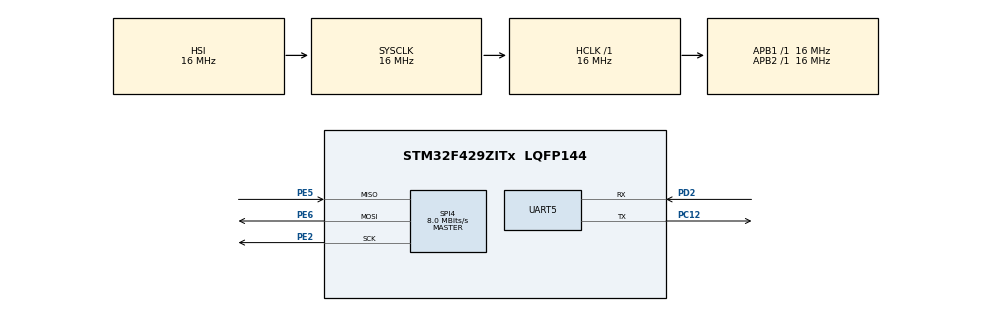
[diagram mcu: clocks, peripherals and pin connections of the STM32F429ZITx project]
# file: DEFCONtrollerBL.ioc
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FREERTOS.Tasks01=defaultTask,24,128,StartDefaultTask,Default,NULL,Dynamic,NULL,NULL
FREERTOS.configUSE_NEWLIB_REENTRANT=1
Mcu.Family=STM32F4
Mcu.Name=STM32F429ZITx
Mcu.Package=LQFP144
NVIC.PriorityGroup=NVIC_PRIORITYGROUP_4
NVIC.TIM6_DAC_IRQn=true\:15\:0\:false\:false\:true\:false\:false\:true\:true
NVIC.TimeBase=TIM6_DAC_IRQn
NVIC.TimeBaseIP=TIM6
PC12.Mode=Asynchronous
PC12.Signal=UART5_TX
PD2.Mode=Asynchronous
PD2.Signal=UART5_RX
PE2.Mode=Full_Duplex_Master
PE2.Signal=SPI4_SCK
PE5.Mode=Full_Duplex_Master
PE5.Signal=SPI4_MISO
PE6.Mode=Full_Duplex_Master
PE6.Signal=SPI4_MOSI
ProjectManager.HeapSize=0x200
ProjectManager.StackSize=0x400
ProjectManager.TargetToolchain=STM32CubeIDE
RCC.AHBFreq_Value=16000000
RCC.APB1Freq_Value=16000000
RCC.APB2Freq_Value=16000000
RCC.CortexFreq_Value=16000000
RCC.HSE_VALUE=25000000
RCC.HSI_VALUE=16000000
RCC.LSE_VALUE=32768
RCC.SYSCLKFreq_VALUE=16000000
RCC.VCOOutputFreq_Value=192000000
SPI4.CalculateBaudRate=8.0 MBits/s
SPI4.Direction=SPI_DIRECTION_2LINES
SPI4.Mode=SPI_MODE_MASTER
SPI4.VirtualType=VM_MASTER
UART5.VirtualMode=Asynchronous
VP_FREERTOS_VS_CMSIS_V2.Mode=CMSIS_V2
VP_SYS_VS_tim6.Mode=TIM6
board=custom

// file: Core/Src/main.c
/* USER CODE BEGIN Header */
/**
  ******************************************************************************
  * @file           : main.c
  * @brief          : Main program body
  ******************************************************************************
  * @attention
  *
  * Copyright (c) 2023 STMicroelectronics.
  * All rights reserved.
  *
  * This software is licensed under terms that can be found in the LICENSE file
  * in the root directory of this software component.
  * If no LICENSE file comes with this software, it is provided AS-IS.
  *
  ******************************************************************************
  */
/* USER CODE END Header */
#include "main.h"
#include "cmsis_os.h"
#include "string.h"

/* USER CODE BEGIN Includes */
#include "stm32f4xx.h" // Replace with your STM32 header file

#include "bsp.h"
#include "xmodem.h"
#include "xmodem_global_handle.h"
//#include "flash.h"
#include "FreeRTOS.h"
#include "task.h"
/* USER CODE END Includes */

/* USER CODE BEGIN PD */
#define BOOTLOADER_START_ADDRESS    0x08000000 // Bootloader start address in flash
#define APPLICATION_START_ADDRESS   0x08008000 // Application start address in flash
#define FLASH_SECTOR_SIZE           0x10000    // Flash sector size (64 KB)
#define APPLICATION_RESET_VECTOR    0x00000004 // Reset vector address in application
#define STARTUP_STRING              "START"    // Startup string to trigger bootloader
/* USER CODE END PD */

SPI_HandleTypeDef hspi4;

UART_HandleTypeDef huart5;
static uint8_t __PageWritePosition = 0;
static uint32_t __ComTimeoutStartTime, __ComTimeoutLength;
static uint8_t __bootloaderPrompt[] = "\r\nBootloader v1.0\r\n";
static uint8_t __response[] = "*";
static uint8_t __rxBuffer[32];
static uint8_t __rxBufferPosition = 0;
static uint8_t __password[8] = "password";

/* Definitions for defaultTask */
osThreadId_t defaultTaskHandle;
const osThreadAttr_t defaultTask_attributes = {
  .name = "defaultTask",
  .stack_size = 128 * 4,
  .priority = (osPriority_t) osPriorityNormal,
};

void SystemClock_Config(void);
static void MX_GPIO_Init(void);
static void MX_UART5_Init(void);
static void MX_SPI4_Init(void);
void StartDefaultTask(void *argument);

/* USER CODE BEGIN 0 */
typedef void (*AppEntryFunc)(void);
typedef void (application_t)(void);
typedef struct
{
    uint32_t		stack_addr;     // Stack Pointer
    application_t*	func_p;        // Program Counter
} JumpStruct;

typedef struct
{
	uint32_t SectorNumber;
	uint32_t SectorBaseAddress;
	uint32_t SectorLength;
} SectorDefinition_t;

uint32_t __InternalFlashAddress = 0x08008000;

static const SectorDefinition_t __Sectors[] = {
  { FLASH_SECTOR_0,  0x08000000, 0x0004000},
  { FLASH_SECTOR_1,  0x08004000, 0x0004000},
  { FLASH_SECTOR_2,  0x08008000, 0x0004000},
  { FLASH_SECTOR_3,  0x0800C000, 0x0004000},
  { FLASH_SECTOR_4,  0x08010000, 0x0010000},
  { FLASH_SECTOR_5,  0x08020000, 0x0020000},
  { FLASH_SECTOR_6,  0x08040000, 0x0020000},
  { FLASH_SECTOR_7,  0x08060000, 0x0020000},
  { FLASH_SECTOR_8,  0x08080000, 0x0020000},
  { FLASH_SECTOR_9,  0x080A0000, 0x0020000},
  { FLASH_SECTOR_10, 0x080C0000, 0x0020000},
  { FLASH_SECTOR_11, 0x080E0000, 0x0020000},
  { FLASH_SECTOR_12, 0x08100000, 0x0004000},
  { FLASH_SECTOR_13, 0x08104000, 0x0004000},
  { FLASH_SECTOR_14, 0x08108000, 0x0004000},
  { FLASH_SECTOR_15, 0x0810C000, 0x0004000},
  { FLASH_SECTOR_16, 0x08110000, 0x0010000},
  { FLASH_SECTOR_17, 0x08120000, 0x0020000},
  { FLASH_SECTOR_18, 0x08140000, 0x0020000},
  { FLASH_SECTOR_19, 0x08160000, 0x0020000},
  { FLASH_SECTOR_20, 0x08180000, 0x0020000},
  { FLASH_SECTOR_21, 0x081A0000, 0x0020000},
  { FLASH_SECTOR_22, 0x081C0000, 0x0020000},
  { FLASH_SECTOR_23, 0x081E0000, 0x0020000}
};

void JumpToApplication(void)
{
	const JumpStruct* vector_p = (JumpStruct*)APPLICATION_START_ADDRESS;

    // Reset the application-specific hardware peripherals
    // Reset UART5
    __HAL_RCC_UART5_FORCE_RESET();
    __HAL_RCC_UART5_RELEASE_RESET();

    // Reset SPI4
    __HAL_RCC_SPI4_FORCE_RESET();
    __HAL_RCC_SPI4_RELEASE_RESET();

    // Reset GPIOD
    __HAL_RCC_GPIOD_FORCE_RESET();
    __HAL_RCC_GPIOD_RELEASE_RESET();

    // Reset GPIOC
    __HAL_RCC_GPIOC_FORCE_RESET();
    __HAL_RCC_GPIOC_RELEASE_RESET();

//    __HAL_RCC_UART5_CLK_DISABLE();
//    __HAL_RCC_SPI4_CLK_DISABLE();
//    __HAL_RCC_GPIOC_CLK_DISABLE();
//    __HAL_RCC_GPIOD_CLK_DISABLE();

    HAL_RCC_DeInit();
    HAL_DeInit();

	/* let's do The Jump! */
    /* Jump, used asm to avoid stack optimization */
    asm("msr msp, %0; bx %1;" : : "r"(vector_p->stack_addr), "r"(vector_p->func_p));
}

// Function to erase a sector of the flash
void Flash_EraseSector(uint32_t sector)
{
	uint32_t lame;
//	HAL_FLASH_OB_Unlock();             // Unlock the option bytes for write access
	FLASH_OBProgramInitTypeDef obInit; // Option bytes structure
	HAL_FLASHEx_OBGetConfig(&obInit);   // Get the current option bytes configuration
//
//	// Disable write protection for the sector
//	obInit.WRPSector &= ~(sector); // Replace x with the sector number
//	obInit.OptionType = OPTIONBYTE_WRP;
//	if (HAL_FLASHEx_OBProgram(&obInit) != HAL_OK)
//	{
//	    // Option bytes programming failed
//	    // Handle the error here
//	}
//
////	HAL_FLASH_OB_Lock(); // Lock the option bytes after modification

	HAL_StatusTypeDef status;
	status = HAL_FLASH_Unlock();
    FLASH_EraseInitTypeDef eraseInit;
    eraseInit.TypeErase = FLASH_TYPEERASE_SECTORS;
    eraseInit.Banks = 0;
    eraseInit.Sector = sector;
    eraseInit.NbSectors = 1;
    eraseInit.VoltageRange = FLASH_VOLTAGE_RANGE_3;
    status = HAL_FLASHEx_Erase(&eraseInit, &lame);
    if( status != HAL_OK )
    {
    	while(1);
    }
}

// Function to write data to the flash
void Flash_WriteData(uint32_t address, uint8_t* data, uint32_t length)
{
	HAL_StatusTypeDef status;
	status = HAL_FLASH_Unlock();
    for (uint32_t i = 0; i < length; i += 4)
    {
        status = HAL_FLASH_Program(FLASH_TYPEPROGRAM_WORD, address + i, *(uint32_t*)(data + i));
        if( status != HAL_OK )
        {
        	while(1);
        }
    }
    status = HAL_FLASH_Lock();
}

static void __TimerStart( uint32_t timeout )
{
  __ComTimeoutStartTime = BspSystemTimeGetTime();
  __ComTimeoutLength    = timeout;
}

static void __TimerKill( void )
{

}

static uint8_t __TimerExpired( void )
{
  return BspSystemTimeHasExpired( __ComTimeoutStartTime, __ComTimeoutLength );
}

static void __ComWriteSlaveMode( uint8_t Byte )
{
	UART_SendByte( Byte, 100 );
}

static uint8_t __ComReadSlaveMode( uint8_t * Byte )
{
	return UART_ReceiveByte( Byte );
}

static uint8_t __ComPayloadCallbackSlaveMode( uint8_t * Payload )
{
  // Flashing Data, Size of data is in words
  Flash_WriteData(__InternalFlashAddress, Payload, 1024);

  // Updating Address with 1K Bytes
  __InternalFlashAddress += 1024;

  return 1;
}

static void __PrepareInternalFlash( void )
{
	uint8_t sector = 0;
	for( sector = FLASH_SECTOR_2; sector <= FLASH_SECTOR_19; sector++ )
	{
		Flash_EraseSector(sector);
	}
}

static void __resetRxBuffer(void)
{
	memset(__rxBuffer, 0, sizeof(__rxBuffer) );
	__rxBufferPosition = 0;
}
/* USER CODE END 0 */

int main(void)
{
  /* USER CODE BEGIN 1 */
  int strCmpResult = 0;
  uint8_t __waitForSecret = 1;
  uint8_t __rxByte = 0;
  /* USER CODE END 1 */

  /* MCU Configuration--------------------------------------------------------*/

  /* Reset of all peripherals, Initializes the Flash interface and the Systick. */
  HAL_Init();

  /* Configure the system clock */
  SystemClock_Config();

  /* Initialize all configured peripherals */
  MX_GPIO_Init();
  MX_UART5_Init();
  MX_SPI4_Init();

  /* Init scheduler */
  osKernelInitialize();

  __resetRxBuffer();
  BspSystemTimeInit();
  XModemGlobalHandle  = XModem1KCreate( __ComWriteSlaveMode,
		  	  	  	  	  	  	  	  	__ComReadSlaveMode,
										__TimerStart,
										__TimerKill,
										__TimerExpired      );

  UART_SendData( __bootloaderPrompt, strlen((char*)__bootloaderPrompt), 1000 );

  // I should be able to simply reuse this timer before XModem1K Starts
  __TimerStart(3000);
  while( __waitForSecret )
  {
	  if( UART_ReceiveByte( &__rxByte ) )
	  {
		  __rxBuffer[__rxBufferPosition++] = __rxByte;
	  }
	  if( __TimerExpired() || ( __rxBufferPosition == 8 ) )
	  {
		  strCmpResult = strncmp( (char*)__rxBuffer, (char*)__password, sizeof(__password));
		  __waitForSecret = 0;
	  }
  }

  UART_SendData( __bootloaderPrompt, strlen((char*)__bootloaderPrompt), 1000 );

  if( 0 == strCmpResult )
  {
	  UART_SendData( __response, strlen((char*)__response), 1000 );
	  __PrepareInternalFlash();
	  XModem1KReceiveFileInit( XModemGlobalHandle );
	  XModem1KReceiveFile( XModemGlobalHandle, __ComPayloadCallbackSlaveMode );
	  HAL_FLASH_Lock();

	  // TODO: We probably need to add the FLASH_LOCK() to an error handler somewhere
  }

  JumpToApplication();

  // TODO: Rip out the unnecessary FreeRTOS stuff
  /* Start scheduler */
  osKernelStart();

  /* We should never get here as control is now taken by the scheduler */
  /* Infinite loop */
  while (1)
  {

  }
}

void SystemClock_Config(void)
{
  RCC_OscInitTypeDef RCC_OscInitStruct = {0};
  RCC_ClkInitTypeDef RCC_ClkInitStruct = {0};

  /** Configure the main internal regulator output voltage
  */
  __HAL_RCC_PWR_CLK_ENABLE();
  __HAL_PWR_VOLTAGESCALING_CONFIG(PWR_REGULATOR_VOLTAGE_SCALE3);

  /** Initializes the RCC Oscillators according to the specified parameters
  * in the RCC_OscInitTypeDef structure.
  */
  RCC_OscInitStruct.OscillatorType = RCC_OSCILLATORTYPE_HSI;
  RCC_OscInitStruct.HSIState = RCC_HSI_ON;
  RCC_OscInitStruct.HSICalibrationValue = RCC_HSICALIBRATION_DEFAULT;
  RCC_OscInitStruct.PLL.PLLState = RCC_PLL_NONE;
  if (HAL_RCC_OscConfig(&RCC_OscInitStruct) != HAL_OK)
  {
    Error_Handler();
  }

  /** Initializes the CPU, AHB and APB buses clocks
  */
  RCC_ClkInitStruct.ClockType = RCC_CLOCKTYPE_HCLK|RCC_CLOCKTYPE_SYSCLK
                              |RCC_CLOCKTYPE_PCLK1|RCC_CLOCKTYPE_PCLK2;
  RCC_ClkInitStruct.SYSCLKSource = RCC_SYSCLKSOURCE_HSI;
  RCC_ClkInitStruct.AHBCLKDivider = RCC_SYSCLK_DIV1;
  RCC_ClkInitStruct.APB1CLKDivider = RCC_HCLK_DIV1;
  RCC_ClkInitStruct.APB2CLKDivider = RCC_HCLK_DIV1;

  if (HAL_RCC_ClockConfig(&RCC_ClkInitStruct, FLASH_LATENCY_0) != HAL_OK)
  {
    Error_Handler();
  }
}

static void MX_SPI4_Init(void)
{

  /* SPI4 parameter configuration*/
  hspi4.Instance = SPI4;
  hspi4.Init.Mode = SPI_MODE_MASTER;
  hspi4.Init.Direction = SPI_DIRECTION_2LINES;
  hspi4.Init.DataSize = SPI_DATASIZE_8BIT;
  hspi4.Init.CLKPolarity = SPI_POLARITY_LOW;
  hspi4.Init.CLKPhase = SPI_PHASE_1EDGE;
  hspi4.Init.NSS = SPI_NSS_SOFT;
  hspi4.Init.BaudRatePrescaler = SPI_BAUDRATEPRESCALER_2;
  hspi4.Init.FirstBit = SPI_FIRSTBIT_MSB;
  hspi4.Init.TIMode = SPI_TIMODE_DISABLE;
  hspi4.Init.CRCCalculation = SPI_CRCCALCULATION_DISABLE;
  hspi4.Init.CRCPolynomial = 10;
  if (HAL_SPI_Init(&hspi4) != HAL_OK)
  {
    Error_Handler();
  }

}

static void MX_UART5_Init(void)
{

  huart5.Instance = UART5;
  huart5.Init.BaudRate = 115200;
  huart5.Init.WordLength = UART_WORDLENGTH_8B;
  huart5.Init.StopBits = UART_STOPBITS_1;
  huart5.Init.Parity = UART_PARITY_NONE;
  huart5.Init.Mode = UART_MODE_TX_RX;
  huart5.Init.HwFlowCtl = UART_HWCONTROL_NONE;
  huart5.Init.OverSampling = UART_OVERSAMPLING_16;
  if (HAL_UART_Init(&huart5) != HAL_OK)
  {
    Error_Handler();
  }

}

static void MX_GPIO_Init(void)
{

  /* GPIO Ports Clock Enable */
  __HAL_RCC_GPIOE_CLK_ENABLE();
  __HAL_RCC_GPIOC_CLK_ENABLE();
  __HAL_RCC_GPIOD_CLK_ENABLE();

}

void StartDefaultTask(void *argument)
{
  for(;;)
  {
    osDelay(1);
  }
}

void HAL_TIM_PeriodElapsedCallback(TIM_HandleTypeDef *htim)
{
  if (htim->Instance == TIM6) {
    HAL_IncTick();
  }
}

void Error_Handler(void)
{
  __disable_irq();
  while (1)
  {
  }
}
